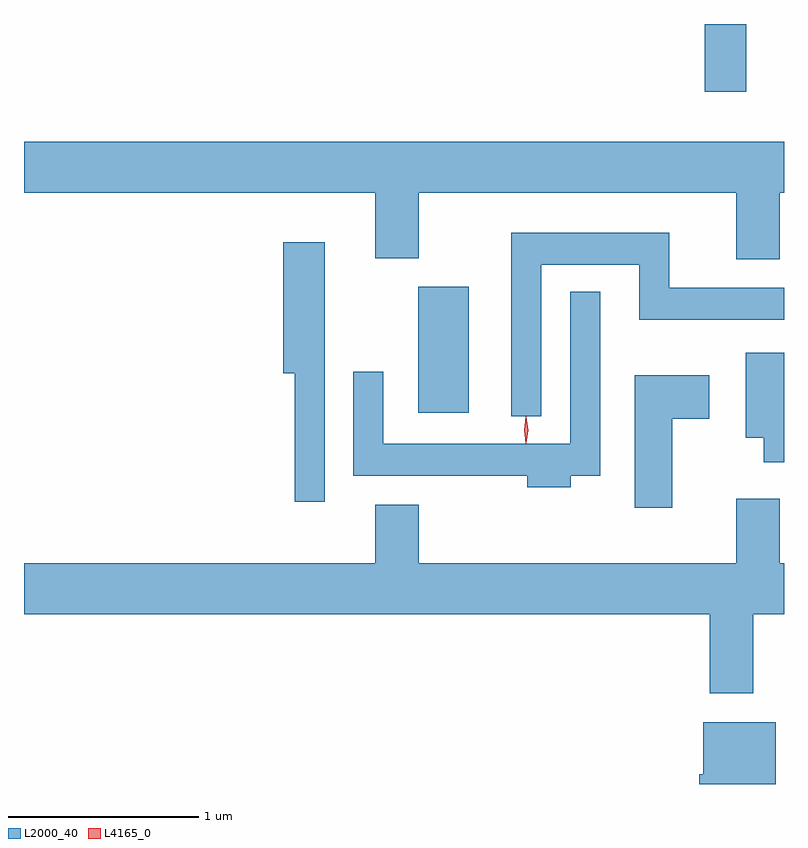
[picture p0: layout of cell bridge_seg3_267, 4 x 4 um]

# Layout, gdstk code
import gdstk
lib = gdstk.Library(unit=1e-6, precision=1e-09)
def R(c, l, rs):  # rectangles x0, y0, x1, y1
    for r in rs: c.add(gdstk.rectangle(r[:2], r[2:], *l))
def P(c, l, *ps):  # polygons
    for p in ps: c.add(gdstk.Polygon(p, *l))
L2000_40 = (2000, 40)
L4165_0 = (4165, 0)

bridge_seg3_267 = lib.new_cell('bridge_seg3_267')
R(bridge_seg3_267, L2000_40, [(1047.026,1135.956,1047.294,1136.619), (1048.536,1137.646,1048.754,1138.003)])
P(bridge_seg3_267, L2000_40, [(1048.929,1137.116),(1048.952,1137.116),(1048.952,1137.384),(1044.952,1137.384),(1044.952,1137.116),(1046.801,1137.116),(1046.801,1136.771),(1047.029,1136.771),(1047.029,1137.116),(1048.701,1137.116),(1048.701,1136.766),(1048.929,1136.766)],
  [(1047.674,1136.736),(1048.191,1136.736),(1048.191,1136.446),(1048.952,1136.446),(1048.952,1136.614),(1048.349,1136.614),(1048.349,1136.904),(1047.516,1136.904),(1047.516,1135.938),(1047.674,1135.938)],
  [(1046.534,1136.854),(1046.316,1136.854),(1046.316,1136.166),(1046.376,1136.166),(1046.376,1135.488),(1046.534,1135.488)],
  [(1047.829,1135.626),(1047.984,1135.626),(1047.984,1136.593),(1047.826,1136.593),(1047.826,1135.794),(1046.844,1135.794),(1046.844,1136.173),(1046.686,1136.173),(1046.686,1135.626),(1047.601,1135.626),(1047.601,1135.566),(1047.829,1135.566)],
  [(1048.952,1136.274),(1048.751,1136.274),(1048.751,1135.826),(1048.846,1135.826),(1048.846,1135.696),(1048.952,1135.696)],
  [(1048.364,1135.926),(1048.559,1135.926),(1048.559,1136.154),(1048.166,1136.154),(1048.166,1135.456),(1048.364,1135.456)],
  [(1048.789,1134.896),(1048.952,1134.896),(1048.952,1135.164),(1048.929,1135.164),(1048.929,1135.504),(1048.701,1135.504),(1048.701,1135.164),(1047.029,1135.164),(1047.029,1135.474),(1046.801,1135.474),(1046.801,1135.164),(1044.952,1135.164),(1044.952,1134.896),(1048.561,1134.896),(1048.561,1134.481),(1048.789,1134.481)],
  [(1048.909,1134.329),(1048.526,1134.329),(1048.526,1134.054),(1048.506,1134.054),(1048.506,1134.003),(1048.909,1134.003)])
P(bridge_seg3_267, L4165_0, [(1047.594,1135.797),(1047.585,1135.866),(1047.594,1135.936),(1047.595,1135.936),(1047.596,1135.936),(1047.605,1135.866),(1047.596,1135.797),(1047.595,1135.797)],
  [(1047.594,1135.799),(1047.594,1135.8),(1047.584,1135.866),(1047.594,1135.932),(1047.594,1135.933),(1047.595,1135.932),(1047.604,1135.866),(1047.595,1135.8)])

lib.write_gds('bridge_seg3_267.gds')
